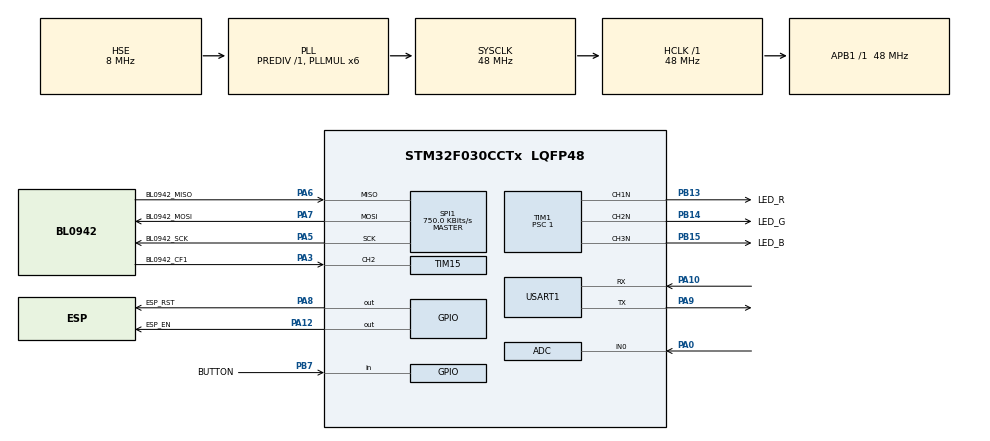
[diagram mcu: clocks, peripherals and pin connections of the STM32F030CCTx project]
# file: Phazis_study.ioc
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ADC.EOCSelection=ADC_EOC_SEQ_CONV
ADC.SamplingTime=ADC_SAMPLETIME_239CYCLES_5
Dma.ADC.0.Direction=DMA_PERIPH_TO_MEMORY
Dma.ADC.0.Instance=DMA1_Channel1
Dma.ADC.0.MemDataAlignment=DMA_MDATAALIGN_HALFWORD
Dma.ADC.0.MemInc=DMA_MINC_ENABLE
Dma.ADC.0.Mode=DMA_NORMAL
Dma.ADC.0.PeriphDataAlignment=DMA_PDATAALIGN_HALFWORD
Dma.ADC.0.PeriphInc=DMA_PINC_DISABLE
Dma.ADC.0.Priority=DMA_PRIORITY_LOW
Dma.Request0=ADC
Dma.Request1=SPI1_RX
Dma.Request2=SPI1_TX
Dma.Request3=USART1_RX
Dma.Request4=USART1_TX
Dma.SPI1_RX.1.Direction=DMA_PERIPH_TO_MEMORY
Dma.SPI1_RX.1.Instance=DMA1_Channel2
Dma.SPI1_RX.1.MemDataAlignment=DMA_MDATAALIGN_BYTE
Dma.SPI1_RX.1.MemInc=DMA_MINC_ENABLE
Dma.SPI1_RX.1.Mode=DMA_NORMAL
Dma.SPI1_RX.1.PeriphDataAlignment=DMA_PDATAALIGN_BYTE
Dma.SPI1_RX.1.PeriphInc=DMA_PINC_DISABLE
Dma.SPI1_RX.1.Priority=DMA_PRIORITY_LOW
Dma.SPI1_TX.2.Direction=DMA_MEMORY_TO_PERIPH
Dma.SPI1_TX.2.Instance=DMA1_Channel3
Dma.SPI1_TX.2.MemDataAlignment=DMA_MDATAALIGN_BYTE
Dma.SPI1_TX.2.MemInc=DMA_MINC_ENABLE
Dma.SPI1_TX.2.Mode=DMA_NORMAL
Dma.SPI1_TX.2.PeriphDataAlignment=DMA_PDATAALIGN_BYTE
Dma.SPI1_TX.2.PeriphInc=DMA_PINC_DISABLE
Dma.SPI1_TX.2.Priority=DMA_PRIORITY_LOW
Dma.USART1_RX.3.Direction=DMA_PERIPH_TO_MEMORY
Dma.USART1_RX.3.Instance=DMA1_Channel5
Dma.USART1_RX.3.MemDataAlignment=DMA_MDATAALIGN_BYTE
Dma.USART1_RX.3.MemInc=DMA_MINC_ENABLE
Dma.USART1_RX.3.Mode=DMA_NORMAL
Dma.USART1_RX.3.PeriphDataAlignment=DMA_PDATAALIGN_BYTE
Dma.USART1_RX.3.PeriphInc=DMA_PINC_DISABLE
Dma.USART1_RX.3.Priority=DMA_PRIORITY_LOW
Dma.USART1_TX.4.Direction=DMA_MEMORY_TO_PERIPH
Dma.USART1_TX.4.Instance=DMA1_Channel4
Dma.USART1_TX.4.MemDataAlignment=DMA_MDATAALIGN_BYTE
Dma.USART1_TX.4.MemInc=DMA_MINC_ENABLE
Dma.USART1_TX.4.Mode=DMA_NORMAL
Dma.USART1_TX.4.PeriphDataAlignment=DMA_PDATAALIGN_BYTE
Dma.USART1_TX.4.PeriphInc=DMA_PINC_DISABLE
Dma.USART1_TX.4.Priority=DMA_PRIORITY_LOW
Mcu.Family=STM32F0
Mcu.Name=STM32F030CCTx
Mcu.Package=LQFP48
NVIC.ADC1_IRQn=true\:0\:0\:false\:false\:true\:true\:true\:true
NVIC.DMA1_Channel1_IRQn=true\:0\:0\:false\:false\:true\:false\:true\:true
NVIC.DMA1_Channel2_3_IRQn=true\:0\:0\:false\:false\:true\:false\:true\:true
NVIC.DMA1_Channel4_5_IRQn=true\:0\:0\:false\:false\:true\:false\:true\:true
NVIC.SPI1_IRQn=true\:0\:0\:false\:false\:true\:true\:true\:true
NVIC.TIM16_IRQn=true\:0\:0\:false\:false\:true\:true\:true\:true
NVIC.TIM17_IRQn=true\:0\:0\:false\:false\:true\:true\:true\:true
NVIC.TIM6_IRQn=true\:0\:0\:false\:false\:true\:true\:true\:true
NVIC.USART1_IRQn=true\:0\:0\:false\:false\:true\:false\:true\:true
PA0.Mode=IN0
PA0.Signal=ADC_IN0
PA10.Mode=Asynchronous
PA10.Signal=USART1_RX
PA12.GPIO_Label=ESP_EN
PA12.PinState=GPIO_PIN_SET
PA12.Signal=GPIO_Output
PA13.Mode=Serial_Wire
PA13.Signal=SYS_SWDIO
PA14.Mode=Serial_Wire
PA14.Signal=SYS_SWCLK
PA3.GPIO_Label=BL0942_CF1
PA3.Signal=S_TIM15_CH2
PA5.GPIO_Label=BL0942_SCK
PA5.Mode=Full_Duplex_Master
PA5.Signal=SPI1_SCK
PA6.GPIO_Label=BL0942_MISO
PA6.Mode=Full_Duplex_Master
PA6.Signal=SPI1_MISO
PA7.GPIO_Label=BL0942_MOSI
PA7.Mode=Full_Duplex_Master
PA7.Signal=SPI1_MOSI
PA8.GPIO_Label=ESP_RST
PA8.Signal=GPIO_Output
PA9.Mode=Asynchronous
PA9.Signal=USART1_TX
PB13.GPIO_Label=LED_R
PB13.Mode=PWM Generation1 CH1N
PB13.Signal=TIM1_CH1N
PB14.GPIO_Label=LED_G
PB14.Mode=PWM Generation2 CH2N
PB14.Signal=TIM1_CH2N
PB15.GPIO_Label=LED_B
PB15.Mode=PWM Generation3 CH3N
PB15.Signal=TIM1_CH3N
PB7.GPIO_Label=BUTTON
PB7.GPIO_PuPd=GPIO_PULLUP
PB7.Signal=GPIO_Input
PF0-OSC_IN.Mode=HSE-External-Oscillator
PF0-OSC_IN.Signal=RCC_OSC_IN
PF1-OSC_OUT.Mode=HSE-External-Oscillator
PF1-OSC_OUT.Signal=RCC_OSC_OUT
ProjectManager.HeapSize=0x200
ProjectManager.StackSize=0x400
ProjectManager.TargetToolchain=EWARM V8.32
RCC.AHBFreq_Value=48000000
RCC.APB1Freq_Value=48000000
RCC.APB1TimFreq_Value=48000000
RCC.HCLKFreq_Value=48000000
RCC.PLLMUL=RCC_PLL_MUL6
RCC.PLLSourceVirtual=RCC_PLLSOURCE_HSE
RCC.RTCClockSelection=RCC_RTCCLKSOURCE_HSE_DIV32
RCC.SYSCLKFreq_VALUE=48000000
RCC.SYSCLKSource=RCC_SYSCLKSOURCE_PLLCLK
SH.S_TIM15_CH2.0=TIM15_CH2,Input_Capture2_from_TI2
SPI1.BaudRatePrescaler=SPI_BAUDRATEPRESCALER_64
SPI1.CLKPhase=SPI_PHASE_2EDGE
SPI1.CalculateBaudRate=750.0 KBits/s
SPI1.DataSize=SPI_DATASIZE_8BIT
SPI1.Direction=SPI_DIRECTION_2LINES
SPI1.Mode=SPI_MODE_MASTER
SPI1.VirtualType=VM_MASTER
TIM1.Channel-PWM\ Generation1\ CH1N=TIM_CHANNEL_1
TIM1.Channel-PWM\ Generation2\ CH2N=TIM_CHANNEL_2
TIM1.Channel-PWM\ Generation3\ CH3N=TIM_CHANNEL_3
TIM1.Prescaler=1
TIM15.Channel-Input_Capture2_from_TI2=TIM_CHANNEL_2
TIM16.Period=99
TIM16.Prescaler=4799
TIM17.Period=999
TIM17.Prescaler=47999
TIM6.Period=99
TIM6.Prescaler=47999
USART1.VirtualMode-Asynchronous=VM_ASYNC
VP_RTC_VS_RTC_Activate.Mode=RTC_Enabled
VP_TIM16_VS_ClockSourceINT.Mode=Enable_Timer
VP_TIM17_VS_ClockSourceINT.Mode=Enable_Timer
VP_TIM1_VS_ClockSourceINT.Mode=Internal
VP_TIM6_VS_ClockSourceINT.Mode=Enable_Timer
board=custom

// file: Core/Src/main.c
/* USER CODE BEGIN Header */
/**
  ******************************************************************************
  * @file           : main.c
  * @brief          : Main program body
  ******************************************************************************
  * @attention
  *
  * Copyright (c) 2026 STMicroelectronics.
  * All rights reserved.
  *
  * This software is licensed under terms that can be found in the LICENSE file
  * in the root directory of this software component.
  * If no LICENSE file comes with this software, it is provided AS-IS.
  *
  ******************************************************************************
  */
/* USER CODE END Header */
#include "main.h"

/* USER CODE BEGIN Includes */
#include "led.h"
#include "button.h"
#include "bl0942.h"
/* USER CODE END Includes */

ADC_HandleTypeDef hadc;
DMA_HandleTypeDef hdma_adc;

RTC_HandleTypeDef hrtc;

SPI_HandleTypeDef hspi1;
DMA_HandleTypeDef hdma_spi1_rx;
DMA_HandleTypeDef hdma_spi1_tx;

TIM_HandleTypeDef htim1;
TIM_HandleTypeDef htim6;
TIM_HandleTypeDef htim15;
TIM_HandleTypeDef htim16;
TIM_HandleTypeDef htim17;

UART_HandleTypeDef huart1;
DMA_HandleTypeDef hdma_usart1_rx;
DMA_HandleTypeDef hdma_usart1_tx;

/* USER CODE BEGIN PV */
/*
 * true for LED glimmering between blue and red
 * false for LED glimmering between green and red
 */
bool led_glow_mode = true;
// Флаги прерываний
volatile uint8_t it_events = 0;

/* USER CODE END PV */

void SystemClock_Config(void);
static void MX_GPIO_Init(void);
static void MX_DMA_Init(void);
static void MX_ADC_Init(void);
static void MX_RTC_Init(void);
static void MX_SPI1_Init(void);
static void MX_TIM1_Init(void);
static void MX_TIM15_Init(void);
static void MX_USART1_UART_Init(void);
static void MX_TIM6_Init(void);
static void MX_TIM16_Init(void);
static void MX_TIM17_Init(void);

/* USER CODE BEGIN 0 */
void HAL_TIM_PeriodElapsedCallback(TIM_HandleTypeDef *htim) {
  if(htim->Instance==TIM16) {
    it_events |= IT_EVENT_TIM16;
    bl_start_reading_regs();
  }
}

void device_init() {
  led_init();
  button_init();
  HAL_TIM_Base_Start_IT(&htim16);
}
/* USER CODE END 0 */

int main(void)
{

  /* MCU Configuration--------------------------------------------------------*/

  /* Reset of all peripherals, Initializes the Flash interface and the Systick. */
  HAL_Init();

  /* Configure the system clock */
  SystemClock_Config();

  /* Initialize all configured peripherals */
  MX_GPIO_Init();
  MX_DMA_Init();
  MX_ADC_Init();
  MX_RTC_Init();
  MX_SPI1_Init();
  MX_TIM1_Init();
  MX_TIM15_Init();
  MX_USART1_UART_Init();
  MX_TIM6_Init();
  MX_TIM16_Init();
  MX_TIM17_Init();
  /* USER CODE BEGIN 2 */
  device_init();
  /* USER CODE END 2 */

  /* Infinite loop */
  /* USER CODE BEGIN WHILE */
  while (1)
  {
    led_handler();
    if(it_events & IT_EVENT_TIM16) {
      it_events &= ~IT_EVENT_TIM16;
      led_default_control(led_glow_mode);
      button_handler();
    }
    if(it_events & IT_EVENT_SPI_CPLT) {
      it_events &= ~IT_EVENT_SPI_CPLT;
      bl_process_data();
    }
    /* USER CODE END WHILE */

  }
}

void SystemClock_Config(void)
{
  RCC_OscInitTypeDef RCC_OscInitStruct = {0};
  RCC_ClkInitTypeDef RCC_ClkInitStruct = {0};
  RCC_PeriphCLKInitTypeDef PeriphClkInit = {0};

  /** Initializes the RCC Oscillators according to the specified parameters
  * in the RCC_OscInitTypeDef structure.
  */
  RCC_OscInitStruct.OscillatorType = RCC_OSCILLATORTYPE_HSI14|RCC_OSCILLATORTYPE_HSE;
  RCC_OscInitStruct.HSEState = RCC_HSE_ON;
  RCC_OscInitStruct.HSI14State = RCC_HSI14_ON;
  RCC_OscInitStruct.HSI14CalibrationValue = 16;
  RCC_OscInitStruct.PLL.PLLState = RCC_PLL_ON;
  RCC_OscInitStruct.PLL.PLLSource = RCC_PLLSOURCE_HSE;
  RCC_OscInitStruct.PLL.PLLMUL = RCC_PLL_MUL6;
  RCC_OscInitStruct.PLL.PREDIV = RCC_PREDIV_DIV1;
  if (HAL_RCC_OscConfig(&RCC_OscInitStruct) != HAL_OK)
  {
    Error_Handler();
  }

  /** Initializes the CPU, AHB and APB buses clocks
  */
  RCC_ClkInitStruct.ClockType = RCC_CLOCKTYPE_HCLK|RCC_CLOCKTYPE_SYSCLK
                              |RCC_CLOCKTYPE_PCLK1;
  RCC_ClkInitStruct.SYSCLKSource = RCC_SYSCLKSOURCE_PLLCLK;
  RCC_ClkInitStruct.AHBCLKDivider = RCC_SYSCLK_DIV1;
  RCC_ClkInitStruct.APB1CLKDivider = RCC_HCLK_DIV1;

  if (HAL_RCC_ClockConfig(&RCC_ClkInitStruct, FLASH_LATENCY_1) != HAL_OK)
  {
    Error_Handler();
  }
  PeriphClkInit.PeriphClockSelection = RCC_PERIPHCLK_USART1|RCC_PERIPHCLK_RTC;
  PeriphClkInit.Usart1ClockSelection = RCC_USART1CLKSOURCE_PCLK1;
  PeriphClkInit.RTCClockSelection = RCC_RTCCLKSOURCE_HSE_DIV32;
  if (HAL_RCCEx_PeriphCLKConfig(&PeriphClkInit) != HAL_OK)
  {
    Error_Handler();
  }
}

static void MX_ADC_Init(void)
{

  ADC_ChannelConfTypeDef sConfig = {0};

  /** Configure the global features of the ADC (Clock, Resolution, Data Alignment and number of conversion)
  */
  hadc.Instance = ADC1;
  hadc.Init.ClockPrescaler = ADC_CLOCK_ASYNC_DIV1;
  hadc.Init.Resolution = ADC_RESOLUTION_12B;
  hadc.Init.DataAlign = ADC_DATAALIGN_RIGHT;
  hadc.Init.ScanConvMode = ADC_SCAN_DIRECTION_FORWARD;
  hadc.Init.EOCSelection = ADC_EOC_SEQ_CONV;
  hadc.Init.LowPowerAutoWait = DISABLE;
  hadc.Init.LowPowerAutoPowerOff = DISABLE;
  hadc.Init.ContinuousConvMode = DISABLE;
  hadc.Init.DiscontinuousConvMode = DISABLE;
  hadc.Init.ExternalTrigConv = ADC_SOFTWARE_START;
  hadc.Init.ExternalTrigConvEdge = ADC_EXTERNALTRIGCONVEDGE_NONE;
  hadc.Init.DMAContinuousRequests = DISABLE;
  hadc.Init.Overrun = ADC_OVR_DATA_PRESERVED;
  if (HAL_ADC_Init(&hadc) != HAL_OK)
  {
    Error_Handler();
  }

  /** Configure for the selected ADC regular channel to be converted.
  */
  sConfig.Channel = ADC_CHANNEL_0;
  sConfig.Rank = ADC_RANK_CHANNEL_NUMBER;
  sConfig.SamplingTime = ADC_SAMPLETIME_239CYCLES_5;
  if (HAL_ADC_ConfigChannel(&hadc, &sConfig) != HAL_OK)
  {
    Error_Handler();
  }

}

static void MX_RTC_Init(void)
{

  /** Initialize RTC Only
  */
  hrtc.Instance = RTC;
  hrtc.Init.HourFormat = RTC_HOURFORMAT_24;
  hrtc.Init.AsynchPrediv = 127;
  hrtc.Init.SynchPrediv = 255;
  hrtc.Init.OutPut = RTC_OUTPUT_DISABLE;
  hrtc.Init.OutPutPolarity = RTC_OUTPUT_POLARITY_HIGH;
  hrtc.Init.OutPutType = RTC_OUTPUT_TYPE_OPENDRAIN;
  if (HAL_RTC_Init(&hrtc) != HAL_OK)
  {
    Error_Handler();
  }

}

static void MX_SPI1_Init(void)
{

  /* SPI1 parameter configuration*/
  hspi1.Instance = SPI1;
  hspi1.Init.Mode = SPI_MODE_MASTER;
  hspi1.Init.Direction = SPI_DIRECTION_2LINES;
  hspi1.Init.DataSize = SPI_DATASIZE_8BIT;
  hspi1.Init.CLKPolarity = SPI_POLARITY_LOW;
  hspi1.Init.CLKPhase = SPI_PHASE_2EDGE;
  hspi1.Init.NSS = SPI_NSS_SOFT;
  hspi1.Init.BaudRatePrescaler = SPI_BAUDRATEPRESCALER_64;
  hspi1.Init.FirstBit = SPI_FIRSTBIT_MSB;
  hspi1.Init.TIMode = SPI_TIMODE_DISABLE;
  hspi1.Init.CRCCalculation = SPI_CRCCALCULATION_DISABLE;
  hspi1.Init.CRCPolynomial = 7;
  hspi1.Init.CRCLength = SPI_CRC_LENGTH_DATASIZE;
  hspi1.Init.NSSPMode = SPI_NSS_PULSE_DISABLE;
  if (HAL_SPI_Init(&hspi1) != HAL_OK)
  {
    Error_Handler();
  }

}

static void MX_TIM1_Init(void)
{

  TIM_ClockConfigTypeDef sClockSourceConfig = {0};
  TIM_MasterConfigTypeDef sMasterConfig = {0};
  TIM_OC_InitTypeDef sConfigOC = {0};
  TIM_BreakDeadTimeConfigTypeDef sBreakDeadTimeConfig = {0};

  htim1.Instance = TIM1;
  htim1.Init.Prescaler = 1;
  htim1.Init.CounterMode = TIM_COUNTERMODE_UP;
  htim1.Init.Period = 65535;
  htim1.Init.ClockDivision = TIM_CLOCKDIVISION_DIV1;
  htim1.Init.RepetitionCounter = 0;
  htim1.Init.AutoReloadPreload = TIM_AUTORELOAD_PRELOAD_DISABLE;
  if (HAL_TIM_Base_Init(&htim1) != HAL_OK)
  {
    Error_Handler();
  }
  sClockSourceConfig.ClockSource = TIM_CLOCKSOURCE_INTERNAL;
  if (HAL_TIM_ConfigClockSource(&htim1, &sClockSourceConfig) != HAL_OK)
  {
    Error_Handler();
  }
  if (HAL_TIM_PWM_Init(&htim1) != HAL_OK)
  {
    Error_Handler();
  }
  sMasterConfig.MasterOutputTrigger = TIM_TRGO_RESET;
  sMasterConfig.MasterSlaveMode = TIM_MASTERSLAVEMODE_DISABLE;
  if (HAL_TIMEx_MasterConfigSynchronization(&htim1, &sMasterConfig) != HAL_OK)
  {
    Error_Handler();
  }
  sConfigOC.OCMode = TIM_OCMODE_PWM1;
  sConfigOC.Pulse = 0;
  sConfigOC.OCPolarity = TIM_OCPOLARITY_HIGH;
  sConfigOC.OCNPolarity = TIM_OCNPOLARITY_HIGH;
  sConfigOC.OCFastMode = TIM_OCFAST_DISABLE;
  sConfigOC.OCIdleState = TIM_OCIDLESTATE_RESET;
  sConfigOC.OCNIdleState = TIM_OCNIDLESTATE_RESET;
  if (HAL_TIM_PWM_ConfigChannel(&htim1, &sConfigOC, TIM_CHANNEL_1) != HAL_OK)
  {
    Error_Handler();
  }
  if (HAL_TIM_PWM_ConfigChannel(&htim1, &sConfigOC, TIM_CHANNEL_2) != HAL_OK)
  {
    Error_Handler();
  }
  if (HAL_TIM_PWM_ConfigChannel(&htim1, &sConfigOC, TIM_CHANNEL_3) != HAL_OK)
  {
    Error_Handler();
  }
  sBreakDeadTimeConfig.OffStateRunMode = TIM_OSSR_DISABLE;
  sBreakDeadTimeConfig.OffStateIDLEMode = TIM_OSSI_DISABLE;
  sBreakDeadTimeConfig.LockLevel = TIM_LOCKLEVEL_OFF;
  sBreakDeadTimeConfig.DeadTime = 0;
  sBreakDeadTimeConfig.BreakState = TIM_BREAK_DISABLE;
  sBreakDeadTimeConfig.BreakPolarity = TIM_BREAKPOLARITY_HIGH;
  sBreakDeadTimeConfig.AutomaticOutput = TIM_AUTOMATICOUTPUT_DISABLE;
  if (HAL_TIMEx_ConfigBreakDeadTime(&htim1, &sBreakDeadTimeConfig) != HAL_OK)
  {
    Error_Handler();
  }
  HAL_TIM_MspPostInit(&htim1);

}

static void MX_TIM6_Init(void)
{

  htim6.Instance = TIM6;
  htim6.Init.Prescaler = 47999;
  htim6.Init.CounterMode = TIM_COUNTERMODE_UP;
  htim6.Init.Period = 99;
  htim6.Init.AutoReloadPreload = TIM_AUTORELOAD_PRELOAD_DISABLE;
  if (HAL_TIM_Base_Init(&htim6) != HAL_OK)
  {
    Error_Handler();
  }

}

static void MX_TIM15_Init(void)
{

  TIM_MasterConfigTypeDef sMasterConfig = {0};
  TIM_IC_InitTypeDef sConfigIC = {0};

  htim15.Instance = TIM15;
  htim15.Init.Prescaler = 0;
  htim15.Init.CounterMode = TIM_COUNTERMODE_UP;
  htim15.Init.Period = 65535;
  htim15.Init.ClockDivision = TIM_CLOCKDIVISION_DIV1;
  htim15.Init.RepetitionCounter = 0;
  htim15.Init.AutoReloadPreload = TIM_AUTORELOAD_PRELOAD_DISABLE;
  if (HAL_TIM_IC_Init(&htim15) != HAL_OK)
  {
    Error_Handler();
  }
  sMasterConfig.MasterOutputTrigger = TIM_TRGO_RESET;
  sMasterConfig.MasterSlaveMode = TIM_MASTERSLAVEMODE_DISABLE;
  if (HAL_TIMEx_MasterConfigSynchronization(&htim15, &sMasterConfig) != HAL_OK)
  {
    Error_Handler();
  }
  sConfigIC.ICPolarity = TIM_INPUTCHANNELPOLARITY_RISING;
  sConfigIC.ICSelection = TIM_ICSELECTION_DIRECTTI;
  sConfigIC.ICPrescaler = TIM_ICPSC_DIV1;
  sConfigIC.ICFilter = 0;
  if (HAL_TIM_IC_ConfigChannel(&htim15, &sConfigIC, TIM_CHANNEL_2) != HAL_OK)
  {
    Error_Handler();
  }

}

static void MX_TIM16_Init(void)
{

  htim16.Instance = TIM16;
  htim16.Init.Prescaler = 4799;
  htim16.Init.CounterMode = TIM_COUNTERMODE_UP;
  htim16.Init.Period = 99;
  htim16.Init.ClockDivision = TIM_CLOCKDIVISION_DIV1;
  htim16.Init.RepetitionCounter = 0;
  htim16.Init.AutoReloadPreload = TIM_AUTORELOAD_PRELOAD_DISABLE;
  if (HAL_TIM_Base_Init(&htim16) != HAL_OK)
  {
    Error_Handler();
  }

}

static void MX_TIM17_Init(void)
{

  htim17.Instance = TIM17;
  htim17.Init.Prescaler = 47999;
  htim17.Init.CounterMode = TIM_COUNTERMODE_UP;
  htim17.Init.Period = 999;
  htim17.Init.ClockDivision = TIM_CLOCKDIVISION_DIV1;
  htim17.Init.RepetitionCounter = 0;
  htim17.Init.AutoReloadPreload = TIM_AUTORELOAD_PRELOAD_DISABLE;
  if (HAL_TIM_Base_Init(&htim17) != HAL_OK)
  {
    Error_Handler();
  }

}

static void MX_USART1_UART_Init(void)
{

  huart1.Instance = USART1;
  huart1.Init.BaudRate = 115200;
  huart1.Init.WordLength = UART_WORDLENGTH_8B;
  huart1.Init.StopBits = UART_STOPBITS_1;
  huart1.Init.Parity = UART_PARITY_NONE;
  huart1.Init.Mode = UART_MODE_TX_RX;
  huart1.Init.HwFlowCtl = UART_HWCONTROL_NONE;
  huart1.Init.OverSampling = UART_OVERSAMPLING_16;
  huart1.Init.OneBitSampling = UART_ONE_BIT_SAMPLE_DISABLE;
  huart1.AdvancedInit.AdvFeatureInit = UART_ADVFEATURE_NO_INIT;
  if (HAL_UART_Init(&huart1) != HAL_OK)
  {
    Error_Handler();
  }

}

static void MX_DMA_Init(void)
{

  /* DMA controller clock enable */
  __HAL_RCC_DMA1_CLK_ENABLE();

  /* DMA interrupt init */
  /* DMA1_Channel1_IRQn interrupt configuration */
  HAL_NVIC_SetPriority(DMA1_Channel1_IRQn, 0, 0);
  HAL_NVIC_EnableIRQ(DMA1_Channel1_IRQn);
  /* DMA1_Channel2_3_IRQn interrupt configuration */
  HAL_NVIC_SetPriority(DMA1_Channel2_3_IRQn, 0, 0);
  HAL_NVIC_EnableIRQ(DMA1_Channel2_3_IRQn);
  /* DMA1_Channel4_5_IRQn interrupt configuration */
  HAL_NVIC_SetPriority(DMA1_Channel4_5_IRQn, 0, 0);
  HAL_NVIC_EnableIRQ(DMA1_Channel4_5_IRQn);

}

static void MX_GPIO_Init(void)
{
  GPIO_InitTypeDef GPIO_InitStruct = {0};

  /* GPIO Ports Clock Enable */
  __HAL_RCC_GPIOF_CLK_ENABLE();
  __HAL_RCC_GPIOA_CLK_ENABLE();
  __HAL_RCC_GPIOB_CLK_ENABLE();

  /*Configure GPIO pin Output Level */
  HAL_GPIO_WritePin(ESP_RST_GPIO_Port, ESP_RST_Pin, GPIO_PIN_RESET);

  /*Configure GPIO pin Output Level */
  HAL_GPIO_WritePin(ESP_EN_GPIO_Port, ESP_EN_Pin, GPIO_PIN_SET);

  /*Configure GPIO pins : ESP_RST_Pin ESP_EN_Pin */
  GPIO_InitStruct.Pin = ESP_RST_Pin|ESP_EN_Pin;
  GPIO_InitStruct.Mode = GPIO_MODE_OUTPUT_PP;
  GPIO_InitStruct.Pull = GPIO_NOPULL;
  GPIO_InitStruct.Speed = GPIO_SPEED_FREQ_LOW;
  HAL_GPIO_Init(GPIOA, &GPIO_InitStruct);

  /*Configure GPIO pin : BUTTON_Pin */
  GPIO_InitStruct.Pin = BUTTON_Pin;
  GPIO_InitStruct.Mode = GPIO_MODE_INPUT;
  GPIO_InitStruct.Pull = GPIO_PULLUP;
  HAL_GPIO_Init(BUTTON_GPIO_Port, &GPIO_InitStruct);

}

void Error_Handler(void)
{
  __disable_irq();
  while (1)
  {
  }
}
